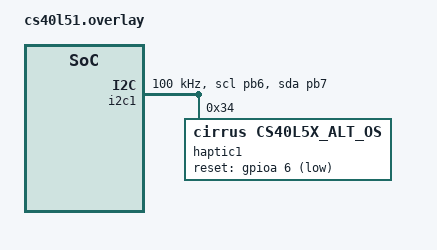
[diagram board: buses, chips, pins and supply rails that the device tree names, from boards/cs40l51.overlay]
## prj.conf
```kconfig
CONFIG_LOG=y
CONFIG_GPIO=y
CONFIG_HAPTICS=y
CONFIG_HAPTICS_CS40L5X_ALT_OS=y
CONFIG_HEAP_MEM_POOL_SIZE=8192
CONFIG_SHELL=y
CONFIG_I2C_SHELL=y

CONFIG_HAPTICS_CS40L51=y
# CONFIG_HAPTICS_CS40L52 is not set
# CONFIG_HAPTICS_CS40L53 is not set
```

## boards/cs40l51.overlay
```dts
#include <zephyr/dt-bindings/i2c/i2c.h>

&i2c1 {
        status = "okay";
        clock-frequency = <I2C_BITRATE_STANDARD>;
	pinctrl-0 = <&i2c1_scl_pb6 &i2c1_sda_pb7>;

        haptic1: cs40l51@34 {
                compatible = "cirrus,cs40l5x_alt_os";
                reg = <0x34>;
                reset-gpios = <&gpioa 6 (GPIO_ACTIVE_LOW | GPIO_PULL_UP)>;
                status = "okay";
        };
};

&usart1 {
	status = "disabled";
};
```

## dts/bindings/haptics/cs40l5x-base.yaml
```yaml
# Copyright (c) 2025 Cirrus Logic, Inc.
# SPDX-License-Identifier: Apache-2.0

description: CS40L5X Haptic Driver

compatible: "cirrus,cs40l5x_alt_os"

include: ["i2c-device.yaml"]

properties:
  reset-gpios:
    type: phandle-array
    required: true
    description: Host GPIO pin mapped to CS40L5X reset pin.
```

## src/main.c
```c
/*
 * Copyright (c) Cirrus Logic 2026 All Rights Reserved, http://www.cirrus.com/
 *
 * Licensed under the Apache License, Version 2.0 (the License); you may
 * not use this file except in compliance with the License.
 * You may obtain a copy of the License at
 *
 * www.apache.org/licenses/LICENSE-2.0
 *
 * Unless required by applicable law or agreed to in writing, software
 * distributed under the License is distributed on an AS IS BASIS, WITHOUT
 * WARRANTIES OR CONDITIONS OF ANY KIND, either express or implied.
 * See the License for the specific language governing permissions and
 * limitations under the License.
 *
 */
#include <errno.h>

#include <zephyr/device.h>
#include <zephyr/devicetree.h>
#include <zephyr/kernel.h>
#include <zephyr/logging/log.h>
#include <zephyr/drivers/haptics.h>
#include <zephyr/drivers/i2c.h>
// #include "drivers/haptics/cs40l5x.h"
#include <zephyr/drivers/uart.h>
#include <zephyr/sys/util.h>
#include <zephyr/shell/shell.h>
#include <sys/_stdint.h>
#include <stdlib.h>
#include <stdio.h>
#include <strings.h>
#include <ctype.h>

#define LOG_LEVEL 4

#include "cs40l5x_bsp.h"

LOG_MODULE_REGISTER(main);

const struct device *cs40l5x = DEVICE_DT_GET(DT_NODELABEL(haptic1));

#if CONFIG_SHELL
#define CS40L5X_HELP                        SHELL_HELP("CS40L5X haptics commands", NULL)
#define CS40L5X_LIST_WT                     SHELL_HELP("List Effects in Main Wavetable", NULL)
#define CS40L5X_EFFECT_MSFT_ID_TRIGGER      SHELL_HELP("Play Effect indicated by Microsoft ID with Given Intensity, Repeat Count, Retrigger Period (ms), and max waveform playback time (ms)", "<msft_ID> <intensity> <repeats> <retrigger_period> <cutoff_time>")
#define CS40L5X_EFFECT_NAME_TRIGGER         SHELL_HELP("Play Effect indicated by effect name with Given Intensity, Repeat Count, and Retrigger Period (ms), and max waveform playback time (ms)", "<effect_name> <intensity> <repeats> <retrigger_period> <cutoff_time>")
#define CS40L5X_DUMP_REGS           SHELL_HELP("Dump consecutive registers", "<addr> <num_words>")

// Helper function to convert and validate shell input is int values in valid range
static int convert_int_input(const struct shell *sh, char *input, uint32_t *output, uint32_t min, uint32_t max)
{
    char *endptr;
    if (!input)
    {
        return -1;
    }
    if((input[0] == '0' && input[1] == 'x') || (input[0] == '0' && input[1] == 'X'))
    {
        for (int i = 2; input[i] != '\0'; i++)
        {
            if (!isxdigit(input[i]))
            {
                shell_error(sh, "Error: Invalid input parameter %s\n", input);
                return -1;
            }
        }

        *output = (uint32_t)strtol(input, &endptr, 16);
        if (*output < min || *output > max)
        {
            printf("Error: Invalid input %s, input must be number between %d and %d\n", input, min, max);
            return -1;
        }
        return 0;
    }
    else
    {
        for (int i = 0; input[i] != '\0'; i++)
        {
            if (!isdigit(input[i]))
            {
                shell_error(sh, "Error: Invalid input parameter %s\n", input);
                return -1;
            }
        }

        *output = (uint32_t)strtol(input, &endptr, 0);
        if (*output < min || *output > max)
        {
            printf("Error: Invalid input %s, input must be number between %d and %d\n", input, min, max);
            return -1;
        }
        return 0;
    }
}

static int cmd_list_wt(const struct shell *sh, size_t argc, char **argv)
{
    uint32_t ret;
    ret = bsp_cs40l5x_list_host_initiated_effects(cs40l5x);
    return ret;
}

static int cmd_effect_name_trigger(const struct shell *sh, size_t argc, char **argv)
{
    uint32_t ret;

    HIH_effect effect_data;
    effect_data.label = EFFECT_NAME;
    strcpy(effect_data.HIH_effect_identifier.effectName, argv[1]);

    uint32_t amplitude;
    ret = convert_int_input(sh, argv[2], &amplitude, 1, 200);
    if(ret)
        return -1;
    uint32_t nested_repeats;
    ret = convert_int_input(sh, argv[3], &nested_repeats, 0, 255);
    if(ret)
        return -1;
    uint32_t delay;
    ret = convert_int_input(sh, argv[4], &delay, 0, 10000);
    if(ret)
        return -1;
    uint32_t cutoff_time;
    ret = convert_int_input(sh, argv[5], &cutoff_time, 0, 0xFFFFFF);
    if(ret)
        return -1;


    ret = bsp_cs40l5x_host_initiated_trigger(cs40l5x, effect_data, amplitude, nested_repeats, delay, cutoff_time);
    return ret;
}

static int cmd_effect_msft_id_trigger(const struct shell *sh, size_t argc, char **argv)
{
    uint32_t ret;

    uint32_t msft_id;
    ret = convert_int_input(sh, argv[1], &msft_id, 0, 0x10000);
    if(ret)
        return -1;

    HIH_effect effect_data;
    effect_data.label = EFFECT_MSFT_ID;
    effect_data.HIH_effect_identifier.msft_ID = msft_id;

    uint32_t amplitude;
    ret = convert_int_input(sh, argv[2], &amplitude, 1, 200);
    if(ret)
        return -1;
    uint32_t nested_repeats;
    ret = convert_int_input(sh, argv[3], &nested_repeats, 0, 255);
    if(ret)
        return -1;
    uint32_t delay;
    ret = convert_int_input(sh, argv[4], &delay, 0, 10000);
    if(ret)
        return -1;
    uint32_t cutoff_time;
    ret = convert_int_input(sh, argv[5], &cutoff_time, 0, 0xFFFFFF);
    if(ret)
        return -1;

    ret = bsp_cs40l5x_host_initiated_trigger(cs40l5x, effect_data, amplitude, nested_repeats, delay, cutoff_time);
    return ret;
}

static int cmd_dump_regs(const struct shell *sh, size_t argc, char **argv)
{
    uint32_t ret;
    uint32_t addr;
    uint32_t num_words;

    ret = convert_int_input(sh, argv[1], &addr, 0, UINT32_MAX);
    if (ret) {
        return ret;
    }

    ret = convert_int_input(sh, argv[2], &num_words, 0, UINT16_MAX);
    if (ret) {
        return ret;
    }

    return bsp_cs40l5x_dump_regs(cs40l5x, addr, num_words);
}

SHELL_STATIC_SUBCMD_SET_CREATE(
    cs40l5x_cmds,
    SHELL_CMD_ARG(list_wt, NULL, CS40L5X_LIST_WT, cmd_list_wt, 1, 0),
    SHELL_CMD_ARG(effect_msft_id_trigger, NULL, CS40L5X_EFFECT_MSFT_ID_TRIGGER, cmd_effect_msft_id_trigger, 6, 0),
    SHELL_CMD_ARG(effect_name_trigger, NULL, CS40L5X_EFFECT_NAME_TRIGGER, cmd_effect_name_trigger, 6, 0),
    SHELL_CMD_ARG(dump_regs, NULL, CS40L5X_DUMP_REGS, cmd_dump_regs, 3, 0),
    SHELL_SUBCMD_SET_END);

SHELL_CMD_REGISTER(cs40l5x, &cs40l5x_cmds, "CS40L5X shell commands", NULL);
#endif /* CONFIG_SHELL */

/*
 * Get button configuration from the devicetree sw0 alias. This is mandatory.
 */
#define SW0_NODE DT_ALIAS(sw0)
#if !DT_NODE_HAS_STATUS_OKAY(SW0_NODE)
#error "Unsupported board: sw0 devicetree alias is not defined"
#endif
static const struct gpio_dt_spec button = GPIO_DT_SPEC_GET_OR(SW0_NODE, gpios,
                                                              {0});

int main(void)
{
    int ret;

    if (!gpio_is_ready_dt(&button))
    {
        printk("Error: button device %s is not ready\n",
               button.port->name);
        return 0;
    }

    ret = gpio_pin_configure_dt(&button, GPIO_INPUT);
    if (ret != 0)
    {
        printk("Error %d: failed to configure %s pin %d\n",
               ret, button.port->name, button.pin);
        return 0;
    }

    struct cs40l5x_haptic_source_config hap_cfg = {
        .index = CS40L5X_HAPTIC_ROM_CLICK_1_VCM,
        .bank = ROM_BANK,
    };
    cs40l5x_set_haptic_cfg(cs40l5x, &hap_cfg);

    if (!cs40l5x)
    {
        LOG_ERR("CS40L5X device not found");
        return -ENODEV;
    }
    else if (!device_is_ready(cs40l5x))
    {
        LOG_ERR("CS40L5X device %s is not ready", cs40l5x->name);
        return -EIO;
    }
    else
    {
        LOG_INF("Found CS40L5X device %s", cs40l5x->name);
    }

    while (1)
    {
        if (gpio_pin_get_dt(&button))
        {
            ret = haptics_start_output(cs40l5x);
            while (gpio_pin_get_dt(&button))
                ;
        }
        k_msleep(10);
    }
    return 0;
}
```

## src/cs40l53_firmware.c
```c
/**
 * @file cs40l53_firmware.c
 *
 * @brief CS40L53 Firmware C Array File
 *
 * @copyright
 * Copyright (c) Cirrus Logic 2026 All Rights Reserved, http://www.cirrus.com/
 *
 * Licensed under the Apache License, Version 2.0 (the License); you may
 * not use this file except in compliance with the License.
 * You may obtain a copy of the License at
 *
 * www.apache.org/licenses/LICENSE-2.0
 *
 * Unless required by applicable law or agreed to in writing, software
 * distributed under the License is distributed on an AS IS BASIS, WITHOUT
 * WARRANTIES OR CONDITIONS OF ANY KIND, either express or implied.
 * See the License for the specific language governing permissions and
 * limitations under the License.
 *
 */

/***********************************************************************************************************************
 * INCLUDES
 **********************************************************************************************************************/
#include "cs40l53_firmware.h"

/***********************************************************************************************************************
 * GLOBAL VARIABLES
 **********************************************************************************************************************/

/**
 * @defgroup CS40L53_FIRMWARE_MEMORY_BLOCKS
 * @brief Firmware memory blocks
 * @details
 * Trailing zero bytes may be appended to fill output words
 *
 * @{
 */
const uint8_t cs40l53_fw_block_0[] = {
0x00,0x04,0x00,0x00,0x00,0x02,0x03,0x00,0x1A,0x00,0xD4,0x00,0x78,0x04,0x00,0x07,0x00,0x22,0x00,0x08,0x00,0x01,0x8E,0x00,
0x10,0x00,0x00,0x01,0xF2,0x0F,0x00,0x00,0x01,0x00,0x02,0x09,0x0C,0x00,0x15,0x28,0x00,0x00,0x00,0x00,0x00,0x00,0x00,0x00,
0x00,0x09,0xF2,0x00,0x10,0x4D,0x01,0x01,0x00,0x00,0x14,0x00,0x00,0x00,0x00,0x00,0xF2,0x23,0x00,0x00,0x01,0x00,0x03,0x09,
0x0B,0x00,0x15,0x5A,0x00,0x00,0x00,0x00,0x00,0x00,0x00,0x00,0x00,0x09,0xF2,0x01,0x10,0x62,0x01,0x01,0x00,0x00,0x2D,0x00,
0x00,0x00,0x00,0x00,0xF2,0x03,0x00,0x00,0x01,0x01,0x07,0x09,0x05,0x00,0x10,0xB0,0x00,0x00,0x00,0x00,0x00,0x00,0x00,0x00,
0x00,0x09,0xF2,0x06,0x10,0xBA,0x02,0x00,0x00,0x01,0x18,0x00,0x00,0x00,0x00,0x00,0x01,0x42,0x00,0x00,0x01,0x01,0x03,0x09,
0x0A,0x00,0x0C,0x59,0x00,0x00,0x00,0x00,0x00,0x00,0x00,0x00,0x01,0x09,0xF2,0x2C,0x15,0x88,0x01,0x00,0x00,0x00,0x36,0x00,
0x00,0x00,0x00,0x00,0xF2,0x02,0x00,0x00,0x02,0x02,0x01,0x09,0x17,0x00,0x09,0xE8,0x00,0x00,0x00,0x00,0x00,0x00,0x00,0x00,
0x02,0x09,0x01,0x40,0x0C,0x24,0x01,0x00,0x00,0x00,0x0A,0x00,0x06,0x00,0x05,0x04,0xF2,0x1B,0x00,0x00,0x02,0x01,0x01,0x09,
0x41,0x00,0x0B,0xE3,0x00,0x00,0x00,0x00,0x00,0x00,0x00,0x00,0x00,0x09,0xF2,0x0C,0x0B,0xDA,0x03,0x01,0x00,0x00,0x09,0x00,
0x00,0x00,0x00,0x00,0x01,0x3D,0x00,0x00,0x01,0x01,0x00,0x09,0x4A,0x00,0x0C,0xFA,0x00,0x00,0x00,0x00,0x00,0x00,0x00,0x00,
0x00,0x09,0x01,0x3C,0x0C,0x2E,0x06,0x06,0x00,0x00,0x0C,0x00,0x00,0x00,0x00,0x00,0xF2,0x07,0x00,0x00,0x02,0x02,0x01,0x09,
0x02,0x00,0x00,0x86,0x04,0x04,0x00,0x00,0x00,0x00,0xFA,0x00,0x01,0x09,0x00,0xBD,0x17,0x00,0x05,0x01,0x00,0x07,0xE2,0x00,
0xD0,0x00,0x0C,0x00,0xDE,0xAD,0x00,0x07,0x12,0x34,0x56,0xBE,
};

const uint8_t cs40l53_fw_block_1[] = {
0x00,0xAB,0xCD,0xEF,0x00,0x12,0x34,0x56,0x00,0xAB,0xCD,0xEF,
};

const uint8_t cs40l53_fw_block_2[] = {
0x00,0x00,0x7C,0x00,0x20,0x38,0x00,0x00,0x00,0x00,0x00,0x00,0x00,0x01,0x00,0x00,0x2D,0x6C,0x00,0x00,0x00,0x00,0x00,0x00,
0x00,0x02,0x00,0x00,0x64,0x80,0x00,0x00,0x00,0x00,0x00,0x00,0xFD,0x3F,0xFF,0xFF,0x42,0x00,0xFF,0xFF,0x00,0x00,0x00,0x00,
0x00,0x00,0x44,0x0C,0x00,0x00,0x00,0x00,0xFF,0xFF,0xFF,0x7F,0xFF,0xFF,0xFF,0xFF,0x00,0x00,0x00,0x00,0x00,0x00,0x00,0x00,
};

const uint8_t cs40l53_fw_block_3[] = {
0x00,0x00,0x00,0x01,
};

const uint8_t cs40l53_fw_block_4[] = {
0x00,0x00,0x00,0x00,0x00,0x00,0x00,0x00,
};

const uint8_t cs40l53_fw_block_5[] = {
0x00,0x00,0x00,0x00,0x00,0x00,0x00,0x00,0x00,0x00,0x07,0x00,0x00,0x00,0x00,0x00,0x0C,0x8E,0x00,0x00,0x00,0x0F,0xE9,0x00,
};

const uint8_t cs40l53_fw_block_6[] = {
0x00,0x00,0x00,0x00,0x00,0x00,0x00,0x00,
};

const uint8_t cs40l53_fw_block_7[] = {
0x00,0x00,0x12,0xFA,0x00,0x1C,0x00,0x34,
};

const uint8_t cs40l53_fw_block_8[] = {
0x00,0x00,0x00,0xBE,0x00,0x5A,0xE3,0x63,0x00,0x00,0x00,0x00,0x00,0x00,0x00,0x00,0x00,0x00,0x00,0x00,0x00,0x21,0x4F,0xF9,
0x00,0x00,0x00,0x1C,0xCC,0x00,0x9A,0x50,0x00,0x1B,0x02,0x19,0x0F,0x74,0xC1,0xB0,0x40,0x20,0x52,0x80,0x20,0x52,0x89,0x9A,
0x00,0x00,0x9A,0x40,0x09,0x85,0x48,0x09,0x55,0x20,0x97,0xA0,0x40,0x20,0x52,0x90,0x17,0xA0,0x0A,0x9A,0xA4,0x02,0x55,0x20,
0x01,0x7A,0x01,0x09,0x05,0x29,0x85,0x52,0xA0,0x87,0xA0,0x09,0x09,0xA4,0x00,0x73,0xCC,0x00,0x73,0xA1,0x82,0x06,0x40,0x09,
0x06,0x34,0x88,0xCE,0x00,0x11,0x4F,0xE9,0x1C,0x01,0x22,0x1B,0xCF,0xFE,0x9C,0x80,0xE0,0x8F,0x40,0x01,0x9A,0x40,0xE0,0x01,
0x00,0x00,0x27,0x50,0x00,0x00,0x00,0x99,0x00,0x2E,0x00,0x50,0x00,0x9C,0x80,0x1C,0x8F,0x40,0x00,0x00,0x80,0x00,0x0F,0xD2,
0x00,0x00,0x00,0x9C,0x4F,0xD8,0x8F,0x40,0x01,0x1C,0x00,0x21,0x9D,0x80,0x00,0x00,0xFC,0x81,0xCF,0xFE,0x09,0x90,0x00,0x14,
0xB6,0x10,0x00,0x70,0x80,0x18,0xFE,0x08,0x1C,0x00,0x49,0xA4,0x00,0x01,0x4F,0xF9,0x01,0x0F,0x98,0x10,0x8F,0xF0,0x99,0x00,
0x6A,0x99,0x00,0x01,0x9C,0xC0,0x00,0x4F,0x00,0x06,0xE0,0xC0,0x3C,0x01,0x1B,0x00,0x00,0x00,0x9C,0x00,0x20,0x00,0x00,0x00,
0x99,0x00,0x00,0x89,0x04,0x60,0x00,0x00,0x09,0x90,0xC0,0x02,0xB0,0x21,0x00,0x00,0x4C,0x00,0xE0,0x01,0x9C,0xC0,0x00,0xF7,
0x00,0x01,0x00,0x00,0x00,0x10,0x41,0x1B,0xB0,0x00,0x99,0x0C,0x21,0x8F,0x00,0x21,0x10,0x01,0x01,0xB0,0xC0,0x00,0xF7,0x4C,
0x00,0x0E,0x40,0x9C,0x90,0xC0,0x99,0x0C,0x82,0x10,0x00,0x09,0x00,0xE8,0x18,0xF0,0x00,0x01,0x00,0x10,0x01,0xB0,0x21,0x1B,
0xF7,0x4C,0x8F,0x40,0xC0,0x9C,0xC0,0x00,0x99,0x0C,0x00,0x0E,0x00,0x01,0x85,0xE0,0x11,0x00,0x01,0x99,0x0F,0x00,0x8D,0x03,
0x08,0x99,0x0C,0x00,0x01,0xC1,0x67,0xC2,0x01,0x01,0xB0,0x00,0x00,0x0F,0x40,0x10,0xF7,0x4C,0x99,0x0C,0x21,0x9C,0xC0,0x00,
0x8F,0x40,0x01,0xB0,0x0C,0x00,0x0F,0x84,0x81,0x00,0x01,0x99,0xB0,0x00,0x86,0xD0,0x21,0x8F,0x00,0x21,0x17,0xF9,0x01,0xB0,
0xC0,0x00,0xF7,0x4C,0x00,0x0F,0x40,0x9C,0x00,0x10,0x99,0x0C,0x00,0x17,0xF8,0x01,0x00,0x00,0x09,0x90,0x88,0x00,0x0E,0x00,
0x00,0x7E,0x40,0x27,0x00,0x00,0x9A,0x00,0x20,0x8F,0x40,0x00,0x99,0x20,0x00,0x89,0x00,0x09,0x90,0x40,0x09,0x90,0x40,0x00,
0xCC,0x00,0x20,0x0A,0x00,0x18,0x71,0x09,0x00,0xEE,0x40,0x00,0xC0,0x00,0x11,0x6C,0x00,0x00,0x00,0x9C,0x0F,0x4C,0x8F,0x40,
0x07,0x9C,0xC0,0x00,0x00,0x00,0x00,0x18,0x00,0x00,0x00,0x00,0x00,0x0F,0x3A,0x00,0x10,0x65,0x9C,0xC0,0x00,0x00,0x00,0x00,
0x8F,0x40,0x00,0x00,0xC0,0x00,0x0F,0x1C,0x00,0x00,0x00,0x9C,0x78,0xC1,0x8F,0x40,0xA2,0x99,0x00,0x02,0x99,0x04,0x02,0x00,
0x04,0x02,0x00,0xC3,0x05,0xB0,0x08,0x99,0x90,0x40,0x8D,0x21,0x00,0x00,0xE0,0x19,0x20,0x06,0x19,0xA0,0xE4,0x00,0x1C,0x0F,
0x00,0x00,0x00,0x07,0x91,0x60,0x00,0x00,0x00,0x99,0x00,0x01,0x02,0x00,0x60,0x00,0x00,0x09,0xCC,0x00,0x60,0x00,0x00,0x00,
0x00,0x00,0x01,0x80,0xBA,0x01,0x00,0x50,0x9C,0xC0,0x00,0x07,0x40,0x00,0x00,0x00,0x02,0xB8,0x60,0x8F,0xAC,0xE1,0x99,0x04,
0x00,0x99,0x04,0x02,0x30,0x30,0x08,0xB8,0x02,0x17,0x3E,0x00,0x90,0x74,0x2D,0x08,0xB0,0x00,0x6E,0x00,0x4C,0x1B,0x02,0x11,
0x9C,0xC0,0x00,0xF7,0x0C,0x00,0x0F,0xC0,0x01,0xFF,0x00,0x99,0x00,0x01,0x9A,0x40,0x00,0x85,0x48,0x01,0x8F,0x00,0x21,0xB0,
0xD0,0x01,0xB0,0x21,0x00,0x10,0x81,0x88,0x81,0x04,0x99,0x0C,0xD4,0x7C,0x00,0x81,0x8F,0x40,0x01,0x4F,0xC0,0x00,0xF7,0x4C,
0x00,0x10,0x00,0x9C,0xFF,0xF8,0x99,0x0C,0x01,0x9A,0x40,0x00,0x85,0x48,0x01,0x00,0x00,0x86,0x34,0x00,0x00,0x10,0x81,0x7C,
0x78,0x44,0x99,0x0C,0xA1,0x99,0x00,0x02,0x99,0x04,0x02,0x00,0x04,0x02,0x00,0xC2,0x20,0x00,0x00,0x99,0x0E,0x04,0x8F,0x00,
0xE0,0x8D,0x20,0x00,0x99,0x04,0x02,0x00,0x98,0x01,0x4F,0xC1,0x02,0x75,0x00,0x86,0x00,0x00,0x99,0x00,0x00,0x00,0xE0,0x00,
0x8F,0x40,0x00,0x00,0xC0,0x00,0x0F,0x3A,0x01,0x4F,0xE9,0x9C,0x06,0x00,0x00,0x00,0x00,0x1C,0xFF,0xC0,0x9D,0x80,0x00,0x00,
0x58,0x00,0x00,0x00,0x00,0x3C,0xA0,0x00,0x3C,0xC0,0x99,0x14,0x10,0x99,0x10,0x00,0x90,0x14,0x00,0x80,0x40,0x00,0x00,0x00,
0x00,0x00,0x00,0x8F,0x00,0x00,0x00,0x00,0x00,0x00,0x00,0x00,0x00,0x00,0x00,0x00,
};

/** @} */

/**
 * Firmware memory block metadata
 */
const halo_boot_block_t cs40l53_fw_blocks[] = {
    {
        .address = 0x02000000,
        .block_size = 324,
        .bytes = cs40l53_fw_block_0
    },
    {
        .address = 0x028001B0,
        .block_size = 12,
        .bytes = cs40l53_fw_block_1
    },
    {
        .address = 0x02000150,
        .block_size = 72,
        .bytes = cs40l53_fw_block_2
    },
    {
        .address = 0x028021DC,
        .block_size = 4,
        .bytes = cs40l53_fw_block_3
    },
    {
        .address = 0x028030B8,
        .block_size = 8,
        .bytes = cs40l53_fw_block_4
    },
    {
        .address = 0x02002490,
        .block_size = 24,
        .bytes = cs40l53_fw_block_5
    },
    {
        .address = 0x028030E0,
        .block_size = 8,
        .bytes = cs40l53_fw_block_6
    },
    {
        .address = 0x03400794,
        .block_size = 8,
        .bytes = cs40l53_fw_block_7
    },
    {
        .address = 0x03800000,
        .block_size = 760,
        .bytes = cs40l53_fw_block_8
    },

};

/**
 * @defgroup CS40L53_COEFFICIENT_0_MEMORY_BLOCKS
 * @brief Coefficient _0 memory blocks
 * @details
 * Trailing zero bytes may be appended to fill output words
 *
 * @{
 */
const uint8_t cs40l53_coeff_0_block_0[] = {
0x00,0x3C,0x00,0x00,0x00,0x01,0x48,0x82,0x00,0x00,0x00,0x00,
};

const uint8_t cs40l53_coeff_0_block_1[] = {
0x00,0x00,0x00,0x0E,
};

const uint8_t cs40l53_coeff_0_block_2[] = {
0x00,0x00,0x00,0x00,
};

const uint8_t cs40l53_coeff_0_block_3[] = {
0x00,0x00,0x00,0x0C,0x00,0x00,0x00,0x2B,
};

const uint8_t cs40l53_coeff_0_block_4[] = {
0x0C,0x00,0x00,0x07,0x00,0x32,0x04,0x00,0x00,0x00,0x0B,0x00,0x40,0x04,0x00,0x0C,0x00,0x0B,0x00,0x00,0x04,0x00,0x0C,0x00,
0x0B,0x00,0x00,0x4E,0x00,0x0C,0x00,0x00,0x00,0x00,0x5C,0x04,0x0C,0x00,0x00,0x0B,0x00,0x6A,0x04,0x00,0x00,0x00,0x07,0x00,
0x74,0x04,0x00,0x0C,0x00,0x0F,0x00,0x00,0x04,0x00,0x0C,0x00,0x07,0x00,0x00,0x86,0x00,0x0C,0x00,0x00,0x00,0x00,0x90,0x04,
0x0C,0x00,0x00,0x07,0x00,0x9A,0x04,0x00,0x00,0x00,0x09,0x00,0xA6,0x04,0x00,0x0C,0x00,0x07,0x00,0x00,0x04,0x00,0x0C,0x00,
0x07,0x00,0x00,0xB0,0x00,0x0C,0x00,0x00,0x00,0x00,0xBA,0x04,0x0C,0x00,0x00,0x0D,0x00,0xCA,0x04,0x00,0x00,0x00,0x0F,0x00,
0x00,0xFF,0xFF,0xFF,0x64,0x00,0x80,0x00,0x20,0x00,0x00,0x00,0x00,0x00,0x32,0x01,0x32,0x01,0x00,0x00,0x00,0x00,0x00,0x00,
0x00,0x3F,0xFF,0xFF,0x00,0x07,0x00,0x64,0xFD,0x32,0x01,0x40,0x03,0x00,0x00,0x22,0x00,0x23,0x89,0x55,0x91,0x55,0x03,0x00,
0x01,0x00,0x00,0xAB,0x00,0x00,0xC1,0x1E,0x01,0x01,0x01,0x00,0xFF,0x00,0x00,0xB8,0xFF,0xFF,0xFF,0xFF,0x00,0x64,0x00,0x3F,
0x01,0x40,0x00,0x06,0x00,0x22,0x64,0x32,0x07,0x55,0x03,0x00,0x03,0x00,0x00,0x22,0x00,0xAC,0xDA,0x55,0x9A,0x1E,0x01,0x00,
0x01,0x00,0x00,0x00,0x00,0xB8,0x01,0x01,0xFF,0xFF,0xFF,0x00,0x00,0x3F,0xFF,0xFF,0x00,0x07,0x00,0x64,0xFD,0x32,0x01,0x40,
0x03,0x00,0x00,0x12,0x00,0x12,0x09,0x46,0x34,0x46,0x03,0x00,0x01,0x00,0x00,0xAA,0x00,0x00,0x11,0x1E,0x01,0x01,0x01,0x00,
0xFF,0x00,0x00,0xC0,0xFF,0xFF,0xFF,0xFF,0x00,0x64,0x00,0x3F,0x01,0x40,0x00,0x06,0x00,0x11,0x64,0x32,0xA1,0x46,0x03,0x00,
0x03,0x00,0x00,0x11,0x00,0xAB,0xC3,0x46,0x41,0x1E,0x01,0x00,0x01,0x00,0x00,0x00,0x00,0xC0,0x01,0x01,0xFF,0xFF,0xFF,0x00,
0x00,0x80,0x00,0x1C,0x00,0x00,0x00,0x64,0x41,0x3B,0x31,0x20,0x31,0x00,0x00,0xE0,0x00,0x00,0x00,0x3B,0x01,0x01,0x01,0x00,
0xFF,0x00,0x00,0xA0,0x01,0x42,0xFF,0xFF,0x00,0x64,0x00,0x80,0x41,0x60,0x00,0x00,0x01,0xB0,0x00,0x25,0x75,0x25,0x41,0x00,
0x41,0x00,0x00,0x00,0x06,0xB0,0x00,0x25,0x00,0x25,0x41,0x00,0x41,0x00,0x00,0x00,0x01,0xB0,0x75,0x25,0x00,0x25,0x41,0x00,
0x01,0x00,0x00,0x00,0x00,0xA0,0x01,0x01,0xFF,0xFF,0xFF,0x00,0x00,0x80,0x00,0x06,0x00,0x00,0x00,0x64,0xE2,0x8F,0x61,0x20,
0x61,0x00,0x00,0x30,0x00,0x00,0xE2,0x8F,0x01,0x01,0x01,0x00,0xFF,0x00,0x00,0xA0,0x00,0x3C,0xFF,0xFF,0x00,0x64,0x00,0x80,
0x41,0x20,0x00,0x00,0x01,0xE0,0x44,0x32,0x44,0x32,0x41,0x00,0x01,0x00,0x00,0x00,0x00,0xA0,0x01,0x01,0xFF,0xFF,0xFF,0x00,
0x00,0x80,0x00,0x72,0x00,0x00,0x00,0x64,0x00,0x25,0x41,0x30,0x09,0x00,0x01,0x50,0x02,0x40,0x18,0x2F,0x58,0x44,0xE9,0x00,
0x01,0x00,0x00,0x00,0x00,0xA0,0x01,0x01,0xFF,0xFF,0xFF,0x00,0x00,0x80,0x00,0x3C,0x00,0x00,0x00,0x64,0x7E,0x31,0x71,0x20,
0x71,0x00,0x01,0xE0,0x00,0x00,0x00,0x31,0x01,0x01,0x01,0x00,0xFF,0x00,0x00,0xA0,0x00,0x1A,0xFF,0xFF,0x00,0x64,0x00,0x80,
0x61,0x20,0x00,0x00,0x00,0xD0,0x00,0x71,0xD6,0x71,0x61,0x00,0x01,0x00,0x00,0x00,0x00,0xA0,0x01,0x01,0xFF,0xFF,0xFF,0x00,
0x00,0x80,0x02,0xAC,0x00,0x00,0x00,0x64,0x5C,0x49,0xB1,0x50,0x09,0x00,0x01,0x30,0x00,0x00,0x5C,0x51,0x00,0x51,0x09,0x00,
0x09,0x00,0x09,0x40,0x0A,0xF1,0x00,0x51,0x1F,0xDB,0x89,0x00,0x01,0x00,0x00,0x00,0x00,0xA0,0x01,0x01,0xFF,0xFF,0xFF,0x00,
0x00,0x80,0x05,0x72,0x00,0x00,0x00,0x64,0xBE,0x6F,0xC1,0x60,0xC1,0x00,0x1D,0xA0,0x00,0x00,0xBE,0x6F,0x00,0x6F,0xC1,0x00,
0xC1,0x00,0x05,0x90,0x00,0x00,0x00,0x6F,0xBE,0x6F,0xC1,0x00,0xC1,0x00,0x08,0x60,0x00,0x00,0xBE,0x6F,0x01,0x01,0x01,0x00,
};

const uint8_t cs40l53_coeff_0_block_5[] = {
0x00,0x00,0x00,0xA0,0x00,0xFF,0xFF,0xFF,
};

const uint8_t cs40l53_coeff_0_block_6[] = {
0x00,0x32,0x00,0x00,
};

const uint8_t cs40l53_coeff_0_block_7[] = {
0x00,0x00,0x00,0x00,0x00,0x00,0x20,0xC5,
};

const uint8_t cs40l53_coeff_0_block_8[] = {
0x03,0x00,0x00,0x03,0x00,0x0D,0x00,0x08,0x00,0x0C,0x0D,0x00,0x11,0x00,0x00,0x11,0x00,0x13,0x00,0x0C,0x00,0x0C,0x13,0x00,
0x0E,0x00,0x00,0x0E,0x00,0x0F,0x00,0x0C,0x00,0x0C,0x0F,0x00,0x05,0x00,0x00,0x05,0x00,0x17,0x00,0x08,0x00,0x0C,0x17,0x00,
};

/** @} */

/**
 * Coefficient _0 memory block metadata
 */
const halo_boot_block_t cs40l53_coeff_0_blocks[] = {
    {
        .address = 0x02805C00,
        .block_size = 12,
        .bytes = cs40l53_coeff_0_block_0
    },
    {
        .address = 0x02805C18,
        .block_size = 4,
        .bytes = cs40l53_coeff_0_block_1
    },
    {
        .address = 0x02805C30,
        .block_size = 4,
        .bytes = cs40l53_coeff_0_block_2
    },
    {
        .address = 0x02805C48,
        .block_size = 8,
        .bytes = cs40l53_coeff_0_block_3
    },
    {
        .address = 0x0200453C,
        .block_size = 648,
        .bytes = cs40l53_coeff_0_block_4
    },
    {
        .address = 0x02805FB0,
        .block_size = 8,
        .bytes = cs40l53_coeff_0_block_5
    },
    {
        .address = 0x02807B88,
        .block_size = 4,
        .bytes = cs40l53_coeff_0_block_6
    },
    {
        .address = 0x02802F8C,
        .block_size = 8,
        .bytes = cs40l53_coeff_0_block_7
    },
    {
        .address = 0x020030F0,
        .block_size = 48,
        .bytes = cs40l53_coeff_0_block_8
    },

};

/**
 * @defgroup CS40L53_COEFFICIENT_1_MEMORY_BLOCKS
 * @brief Coefficient _1 memory blocks
 * @details
 * Trailing zero bytes may be appended to fill output words
 *
 * @{
 */
const uint8_t cs40l53_coeff_1_block_0[] = {
0x00,0x7F,0xFC,0xB9,0x00,0x04,0x92,0x49,
};

const uint8_t cs40l53_coeff_1_block_1[] = {
0x00,0x00,0x00,0x2A,0x00,0x00,0x00,0x54,0x00,0x00,0x00,0x2A,
};

const uint8_t cs40l53_coeff_1_block_2[] = {
0x63,0x7F,0x46,0x0C,0x00,0x2A,0xC0,0xB9,0x00,0x00,0x54,0x00,0x84,0x00,0x00,0x2A,0x87,0xEB,0x7F,0x77,0x00,0x00,0x1B,0xC0,
0x1B,0x00,0x00,0x36,0xCD,0x8D,0x00,0x00,0xC0,0x31,0xE1,0x7F,0xC0,0x3F,0xD2,0x20,0xD2,0x20,0x80,0x5B,0x7F,0xA5,0x03,0x3F,
0x33,0xC0,0x5A,0xBD,0x33,0x33,0x03,0x33,0x00,0x00,0x00,0x03,0x00,0x38,0x20,0x62,0x50,0xF0,0x00,0x00,0x00,0xA1,0xE0,0x00,
0x51,0x00,0x50,0xF0,0xD7,0x86,0x77,0x21,0x40,0x00,0x00,0xC7,0x00,0x80,0x00,0x00,0xA9,0x5F,0x40,0x00,0xCC,0x89,0xBE,0x72,
0x45,0x36,0xDC,0x5D,0xDC,0x5D,0x92,0x47,0x79,0xA4,0x31,0x36,0x00,0xC5,0x82,0x73,0x00,0x00,0x04,0x00,0x00,0x00,0x00,0x04,
0x0A,0x00,0x00,0x00,0x00,0x01,0x00,0x00,0x00,0x00,0x01,0x00,0x20,0x00,0x00,0x06,0x00,0x20,0x00,0x00,0x00,0x00,0x01,0x00,
0x9A,0x01,0x01,0x3B,0x34,0xF7,0x39,0x99,0x42,0x34,0xF7,0x42,
};

const uint8_t cs40l53_coeff_1_block_3[] = {
0x00,0x0F,0x77,0x77,0x00,0x2E,0xDB,0x6E,
};

const uint8_t cs40l53_coeff_1_block_4[] = {
0x00,0x00,0x00,0x00,
};

const uint8_t cs40l53_coeff_1_block_5[] = {
0x00,0x00,0x00,0x06,
};

const uint8_t cs40l53_coeff_1_block_6[] = {
0xED,0x00,0x00,0x00,0x2F,0xDA,0x00,0x17,0x00,0x17,0xED,0x00,
};

const uint8_t cs40l53_coeff_1_block_7[] = {
0x00,0x87,0x1A,0x15,0x00,0x39,0x45,0x9F,
};

const uint8_t cs40l53_coeff_1_block_8[] = {
0xBE,0x04,0x00,0x00,0x04,0x42,0x7F,0xFB,0x00,0x00,0x62,0x00,0x00,0x7F,0xFF,0x30,0x00,0x00,0x00,0x00,0x00,0x00,0x00,0x00,
0x00,0x00,0x00,0x00,0x00,0x00,0x00,0x00,0x00,0x00,0x00,0x00,
};

const uint8_t cs40l53_coeff_1_block_9[] = {
0x00,0x00,0x4A,0x3D,
};

const uint8_t cs40l53_coeff_1_block_10[] = {
0x00,0x67,0x51,0xEC,
};

const uint8_t cs40l53_coeff_1_block_11[] = {
0x00,0x7D,0x70,0xA4,0x00,0x73,0x33,0x33,0x00,0x00,0x00,0x00,0x00,0x00,0x00,0x1D,0x00,0x00,0x00,0x01,
};

const uint8_t cs40l53_coeff_1_block_12[] = {
0x00,0x59,0x99,0x9A,0x00,0x59,0x99,0x9A,0x00,0x60,0x00,0x00,
};

const uint8_t cs40l53_coeff_1_block_13[] = {
0x00,0x06,0x66,0x66,
};

const uint8_t cs40l53_coeff_1_block_14[] = {
0xA4,0x0C,0xCC,0xCD,0x00,0x00,0x7D,0x70,0x00,0x00,0x01,0x00,
};

const uint8_t cs40l53_coeff_1_block_15[] = {
0x00,0x01,0xEB,0x85,
};

const uint8_t cs40l53_coeff_1_block_16[] = {
0x00,0x00,0x00,0x00,
};

const uint8_t cs40l53_coeff_1_block_17[] = {
0x00,0x00,0x00,0x00,0x00,0x7E,0xB8,0x52,0x00,0x00,0x00,0x14,
};

const uint8_t cs40l53_coeff_1_block_18[] = {
0x00,0x02,0x8F,0x5C,0x00,0x59,0x99,0x9A,
};

const uint8_t cs40l53_coeff_1_block_19[] = {
0x00,0x00,0x00,0x00,0x00,0x00,0xC2,0x29,
};

const uint8_t cs40l53_coeff_1_block_20[] = {
0x15,0x00,0x00,0x00,0x00,0x00,0x00,0x00,0x00,0x00,0x00,0x00,
};

const uint8_t cs40l53_coeff_1_block_21[] = {
0x00,0x00,0x48,0x00,
};

const uint8_t cs40l53_coeff_1_block_22[] = {
0x00,0x00,0x00,0x18,
};

const uint8_t cs40l53_coeff_1_block_23[] = {
0x06,0x06,0x66,0x66,0x00,0x18,0x00,0x00,0x05,0x55,0x55,0x00,0x30,0x00,0x00,0x30,0x00,0x00,0x00,0x00,0x10,0x00,0x00,0x02,
};

const uint8_t cs40l53_coeff_1_block_24[] = {
0x00,0x00,0x5D,0xE4,
};

const uint8_t cs40l53_coeff_1_block_25[] = {
0x0B,0x00,0x00,0x0B,0xAA,0xAB,0x00,0x00,0x02,0xAA,0xAB,0x02,0x0F,0x00,0x00,0x18,0x00,0x00,0x00,0xEA,0x00,0x12,0xC0,0x00,
0x00,0x06,0x66,0x66,0x00,0x06,0x00,0x00,0x00,0x00,0x64,0x00,0x02,0x00,0x00,0x24,0x00,0x18,0x00,0x00,0x00,0x00,0x60,0x00,
0xC0,0x00,0x00,0x60,0x12,0xC0,0x00,0x12,0x00,0x25,0x80,0x00,0x00,0x00,0x01,0x56,0x09,0x60,0x00,0x00,0x00,0x00,0x00,0x00,
};

const uint8_t cs40l53_coeff_1_block_26[] = {
0x00,0x00,0x00,0x36,0x00,0x00,0x00,0x00,0x00,0x40,0x00,0x00,
};

const uint8_t cs40l53_coeff_1_block_27[] = {
0x00,0x47,0xCE,0xD9,0x00,0x71,0xEB,0x85,0x00,0x00,0x00,0x00,
};

const uint8_t cs40l53_coeff_1_block_28[] = {
0x00,0x00,0x01,0xE0,0x00,0x00,0x44,0x44,
};

const uint8_t cs40l53_coeff_1_block_29[] = {
0x00,0x01,0xD4,0x1D,0x00,0x06,0x66,0x66,
};

const uint8_t cs40l53_coeff_1_block_30[] = {
0x00,0x00,0x00,0x01,
};

const uint8_t cs40l53_coeff_1_block_31[] = {
0x00,0x00,0x04,0x08,0x00,0x01,0x13,0x8C,0x00,0x00,0xB2,0x00,
};

const uint8_t cs40l53_coeff_1_block_32[] = {
0x00,0x00,0x00,0x00,
};

/** @} */

/**
 * Coefficient _1 memory block metadata
 */
const halo_boot_block_t cs40l53_coeff_1_blocks[] = {
    {
        .address = 0x03401010,
        .block_size = 8,
        .bytes = cs40l53_coeff_1_block_0
    },
    {
        .address = 0x03401024,
        .block_size = 12,
        .bytes = cs40l53_coeff_1_block_1
    },
    {
        .address = 0x02C00C24,
        .block_size = 156,
        .bytes = cs40l53_coeff_1_block_2
    },
    {
        .address = 0x03401100,
        .block_size = 8,
        .bytes = cs40l53_coeff_1_block_3
    },
    {
        .address = 0x03401128,
        .block_size = 4,
        .bytes = cs40l53_coeff_1_block_4
    },
    {
        .address = 0x03401138,
        .block_size = 4,
        .bytes = cs40l53_coeff_1_block_5
    },
    {
        .address = 0x02C00D38,
        .block_size = 12,
        .bytes = cs40l53_coeff_1_block_6
    },
    {
        .address = 0x034011B0,
        .block_size = 8,
        .bytes = cs40l53_coeff_1_block_7
    },
    {
        .address = 0x02C00D68,
        .block_size = 36,
        .bytes = cs40l53_coeff_1_block_8
    },
    {
        .address = 0x03401218,
        .block_size = 4,
        .bytes = cs40l53_coeff_1_block_9
    },
    {
        .address = 0x03401220,
        .block_size = 4,
        .bytes = cs40l53_coeff_1_block_10
    },
    {
        .address = 0x03401228,
        .block_size = 20,
        .bytes = cs40l53_coeff_1_block_11
    },
    {
        .address = 0x0340124C,
        .block_size = 12,
        .bytes = cs40l53_coeff_1_block_12
    },
    {
        .address = 0x0340125C,
        .block_size = 4,
        .bytes = cs40l53_coeff_1_block_13
    },
    {
        .address = 0x02C00DC8,
        .block_size = 12,
        .bytes = cs40l53_coeff_1_block_14
    },
    {
        .address = 0x03401270,
        .block_size = 4,
        .bytes = cs40l53_coeff_1_block_15
    },
    {
        .address = 0x0340127C,
        .block_size = 4,
        .bytes = cs40l53_coeff_1_block_16
    },
    {
        .address = 0x03401284,
        .block_size = 12,
        .bytes = cs40l53_coeff_1_block_17
    },
    {
        .address = 0x03401294,
        .block_size = 8,
        .bytes = cs40l53_coeff_1_block_18
    },
    {
        .address = 0x034012C8,
        .block_size = 8,
        .bytes = cs40l53_coeff_1_block_19
    },
    {
        .address = 0x02C00E1C,
        .block_size = 12,
        .bytes = cs40l53_coeff_1_block_20
    },
    {
        .address = 0x034012E0,
        .block_size = 4,
        .bytes = cs40l53_coeff_1_block_21
    },
    {
        .address = 0x034012EC,
        .block_size = 4,
        .bytes = cs40l53_coeff_1_block_22
    },
    {
        .address = 0x02C00E34,
        .block_size = 24,
        .bytes = cs40l53_coeff_1_block_23
    },
    {
        .address = 0x0340131C,
        .block_size = 4,
        .bytes = cs40l53_coeff_1_block_24
    },
    {
        .address = 0x02C00E58,
        .block_size = 72,
        .bytes = cs40l53_coeff_1_block_25
    },
    {
        .address = 0x03401390,
        .block_size = 12,
        .bytes = cs40l53_coeff_1_block_26
    },
    {
        .address = 0x034013A0,
        .block_size = 12,
        .bytes = cs40l53_coeff_1_block_27
    },
    {
        .address = 0x034013B0,
        .block_size = 8,
        .bytes = cs40l53_coeff_1_block_28
    },
    {
        .address = 0x034013C4,
        .block_size = 8,
        .bytes = cs40l53_coeff_1_block_29
    },
    {
        .address = 0x034013D0,
        .block_size = 4,
        .bytes = cs40l53_coeff_1_block_30
    },
    {
        .address = 0x034013D8,
        .block_size = 12,
        .bytes = cs40l53_coeff_1_block_31
    },
    {
        .address = 0x034013E8,
        .block_size = 4,
        .bytes = cs40l53_coeff_1_block_32
    },

};


/***********************************************************************************************************************
 * LOCAL FUNCTIONS
 **********************************************************************************************************************/

/***********************************************************************************************************************
 * API FUNCTIONS
 **********************************************************************************************************************/
```

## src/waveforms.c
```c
#include "rth_types.h"
#include <stddef.h>
#include <stdlib.h>
const rth_pwle_section_t pwle_1_section1 =
{
    .duration = 0,
    .level = 0,
    .freq = 800,
    .chirp = false,
    .half_cycles = false
};

const rth_pwle_section_t pwle_1_section2 =
{
    .duration = 4,
    .level = 0,
    .freq = 800,
    .chirp = false,
    .half_cycles = false
};

const rth_pwle_section_t *pwle1_sections[2] =
{
    &pwle_1_section1,
    &pwle_1_section2
};

const rth_pwle_t pwle_1 =
{
    .sections = pwle1_sections,
    .num_sections = 2,
    .length_us = 1000,
    .name = "null_1ms_wave",
    .msft_id = 0
};
const rth_pwle_section_t pwle_2_section1 =
{
    .duration = 0,
    .level = 165,
    .freq = 640,
    .chirp = false,
    .half_cycles = false
};

const rth_pwle_section_t pwle_2_section2 =
{
    .duration = 25,
    .level = 0,
    .freq = 640,
    .chirp = false,
    .half_cycles = false
};

const rth_pwle_section_t *pwle2_sections[2] =
{
    &pwle_2_section1,
    &pwle_2_section2
};

const rth_pwle_t pwle_2 =
{
    .sections = pwle2_sections,
    .num_sections = 2,
    .length_us = 26250,
    .name = "Hover",
    .msft_id = 0x1008
};
const rth_pwle_section_t pwle_3_section1 =
{
    .duration = 0,
    .level = 0,
    .freq = 404,
    .chirp = false,
    .half_cycles = false
};

const rth_pwle_section_t pwle_3_section2 =
{
    .duration = 40,
    .level = 401,
    .freq = 404,
    .chirp = false,
    .half_cycles = false
};

const rth_pwle_section_t pwle_3_section3 =
{
    .duration = 0,
    .level = 0,
    .freq = 404,
    .chirp = false,
    .half_cycles = false
};

const rth_pwle_section_t pwle_3_section4 =
{
    .duration = 158,
    .level = 0,
    .freq = 404,
    .chirp = false,
    .half_cycles = false
};

const rth_pwle_section_t pwle_3_section5 =
{
    .duration = 0,
    .level = 401,
    .freq = 404,
    .chirp = false,
    .half_cycles = false
};

const rth_pwle_section_t pwle_3_section6 =
{
    .duration = 40,
    .level = 0,
    .freq = 404,
    .chirp = false,
    .half_cycles = false
};

const rth_pwle_section_t *pwle3_sections[6] =
{
    &pwle_3_section1,
    &pwle_3_section2,
    &pwle_3_section3,
    &pwle_3_section4,
    &pwle_3_section5,
    &pwle_3_section6
};

const rth_pwle_t pwle_3 =
{
    .sections = pwle3_sections,
    .num_sections = 6,
    .length_us = 79500,
    .name = "Collide",
    .msft_id = 0x1012
};
const rth_pwle_section_t pwle_4_section1 =
{
    .duration = 0,
    .level = 335,
    .freq = 1556,
    .chirp = false,
    .half_cycles = false
};

const rth_pwle_section_t pwle_4_section2 =
{
    .duration = 5,
    .level = 335,
    .freq = 1556,
    .chirp = false,
    .half_cycles = false
};

const rth_pwle_section_t *pwle4_sections[2] =
{
    &pwle_4_section1,
    &pwle_4_section2
};

const rth_pwle_t pwle_4 =
{
    .sections = pwle4_sections,
    .num_sections = 2,
    .length_us = 21250,
    .name = "Align",
    .msft_id = 0x1013
};
const rth_pwle_section_t pwle_5_section1 =
{
    .duration = 0,
    .level = 335,
    .freq = 544,
    .chirp = false,
    .half_cycles = false
};

const rth_pwle_section_t pwle_5_section2 =
{
    .duration = 44,
    .level = 335,
    .freq = 544,
    .chirp = false,
    .half_cycles = false
};

const rth_pwle_section_t *pwle5_sections[2] =
{
    &pwle_5_section1,
    &pwle_5_section2
};

const rth_pwle_t pwle_5 =
{
    .sections = pwle5_sections,
    .num_sections = 2,
    .length_us = 31000,
    .name = "Step",
    .msft_id = 0x1014
};
const rth_pwle_section_t pwle_6_section1 =
{
    .duration = 0,
    .level = 0,
    .freq = 404,
    .chirp = false,
    .half_cycles = false
};

const rth_pwle_section_t pwle_6_section2 =
{
    .duration = 78,
    .level = 99,
    .freq = 508,
    .chirp = true,
    .half_cycles = false
};

const rth_pwle_section_t pwle_6_section3 =
{
    .duration = 107,
    .level = 368,
    .freq = 748,
    .chirp = true,
    .half_cycles = false
};

const rth_pwle_section_t *pwle6_sections[3] =
{
    &pwle_6_section1,
    &pwle_6_section2,
    &pwle_6_section3
};

const rth_pwle_t pwle_6 =
{
    .sections = pwle6_sections,
    .num_sections = 3,
    .length_us = 66250,
    .name = "Grow",
    .msft_id = 0x1015
};
const rth_pwle_section_t pwle_7_section1 =
{
    .duration = 0,
    .level = 401,
    .freq = 536,
    .chirp = false,
    .half_cycles = false
};

const rth_pwle_section_t pwle_7_section2 =
{
    .duration = 45,
    .level = 0,
    .freq = 536,
    .chirp = false,
    .half_cycles = false
};

const rth_pwle_section_t *pwle7_sections[2] =
{
    &pwle_7_section1,
    &pwle_7_section2
};

const rth_pwle_t pwle_7 =
{
    .sections = pwle7_sections,
    .num_sections = 2,
    .length_us = 31250,
    .name = "Press",
    .msft_id = 0x1006
};
const rth_pwle_section_t pwle_8_section1 =
{
    .duration = 0,
    .level = 0,
    .freq = 1232,
    .chirp = false,
    .half_cycles = false
};

const rth_pwle_section_t pwle_8_section2 =
{
    .duration = 19,
    .level = 401,
    .freq = 1232,
    .chirp = false,
    .half_cycles = false
};

const rth_pwle_section_t *pwle8_sections[2] =
{
    &pwle_8_section1,
    &pwle_8_section2
};

const rth_pwle_t pwle_8 =
{
    .sections = pwle8_sections,
    .num_sections = 2,
    .length_us = 24750,
    .name = "Release",
    .msft_id = 0x1007
};
const rth_pwle_section_t pwle_9_section1 =
{
    .duration = 0,
    .level = 236,
    .freq = 800,
    .chirp = false,
    .half_cycles = false
};

const rth_pwle_section_t pwle_9_section2 =
{
    .duration = 27,
    .level = 236,
    .freq = 880,
    .chirp = true,
    .half_cycles = false
};

const rth_pwle_section_t pwle_9_section3 =
{
    .duration = 0,
    .level = 0,
    .freq = 880,
    .chirp = true,
    .half_cycles = false
};

const rth_pwle_section_t pwle_9_section4 =
{
    .duration = 218,
    .level = 0,
    .freq = 880,
    .chirp = true,
    .half_cycles = false
};

const rth_pwle_section_t pwle_9_section5 =
{
    .duration = 258,
    .level = 735,
    .freq = 2384,
    .chirp = true,
    .half_cycles = false
};

const rth_pwle_section_t *pwle9_sections[5] =
{
    &pwle_9_section1,
    &pwle_9_section2,
    &pwle_9_section3,
    &pwle_9_section4,
    &pwle_9_section5
};

const rth_pwle_t pwle_9 =
{
    .sections = pwle9_sections,
    .num_sections = 5,
    .length_us = 145750,
    .name = "Success",
    .msft_id = 0x1009
};
const rth_pwle_section_t pwle_10_section1 =
{
    .duration = 0,
    .level = 401,
    .freq = 1212,
    .chirp = false,
    .half_cycles = false
};

const rth_pwle_section_t pwle_10_section2 =
{
    .duration = 198,
    .level = 401,
    .freq = 1212,
    .chirp = false,
    .half_cycles = false
};

const rth_pwle_section_t pwle_10_section3 =
{
    .duration = 0,
    .level = 0,
    .freq = 1212,
    .chirp = false,
    .half_cycles = false
};

const rth_pwle_section_t pwle_10_section4 =
{
    .duration = 132,
    .level = 0,
    .freq = 1212,
    .chirp = false,
    .half_cycles = false
};

const rth_pwle_section_t pwle_10_section5 =
{
    .duration = 0,
    .level = 401,
    .freq = 1212,
    .chirp = false,
    .half_cycles = false
};

const rth_pwle_section_t pwle_10_section6 =
{
    .duration = 198,
    .level = 401,
    .freq = 1212,
    .chirp = false,
    .half_cycles = false
};

const rth_pwle_section_t *pwle10_sections[6] =
{
    &pwle_10_section1,
    &pwle_10_section2,
    &pwle_10_section3,
    &pwle_10_section4,
    &pwle_10_section5,
    &pwle_10_section6
};

const rth_pwle_t pwle_10 =
{
    .sections = pwle10_sections,
    .num_sections = 6,
    .length_us = 152000,
    .name = "Error",
    .msft_id = 0x100A
};
uint32_t const pwleCount = 10;
const rth_pwle_t *pwleList[10] =
{
    &pwle_1,
    &pwle_2,
    &pwle_3,
    &pwle_4,
    &pwle_5,
    &pwle_6,
    &pwle_7,
    &pwle_8,
    &pwle_9,
    &pwle_10,
};
```

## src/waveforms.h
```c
#include "rth_types.h"
#include <stddef.h>
#include <stdlib.h>

extern const rth_pwle_section_t *pwle1[];
extern const uint32_t pwle_1_size;

extern const rth_pwle_section_t *pwle2[];
extern const uint32_t pwle_2_size;

extern const rth_pwle_section_t *pwle3[];
extern const uint32_t pwle_3_size;

extern const rth_pwle_section_t *pwle4[];
extern const uint32_t pwle_4_size;

extern const rth_pwle_section_t *pwle5[];
extern const uint32_t pwle_5_size;

extern const rth_pwle_section_t *pwle6[];
extern const uint32_t pwle_6_size;

extern const rth_pwle_section_t *pwle7[];
extern const uint32_t pwle_7_size;

extern const rth_pwle_section_t *pwle8[];
extern const uint32_t pwle_8_size;

extern const rth_pwle_section_t *pwle9[];
extern const uint32_t pwle_9_size;

extern const rth_pwle_section_t *pwle10[];
extern const uint32_t pwle_10_size;

extern const uint32_t pwleCount;
extern rth_pwle_t *pwleList[];
```
